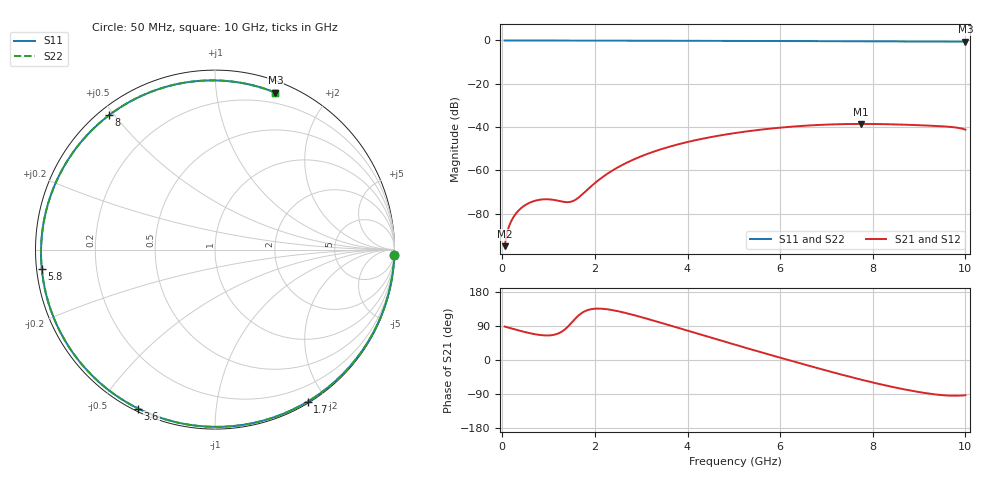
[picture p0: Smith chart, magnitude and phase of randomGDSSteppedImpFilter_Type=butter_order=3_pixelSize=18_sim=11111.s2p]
! freq	dB(S11)	phase(S11)	dB(S12)	phase(S12)
!  dB(S21)	phase(S21)	dB(S22)	phase(S22)
!S-par simulation data
#  GHz  S  DB  R 50
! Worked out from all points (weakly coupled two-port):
!   200 points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, 50 MHz to 10 GHz, reference 50 ohm
!   highest |S21| = -38.58 dB at 7.75 GHz (marker M1); lowest = -95.1 dB at 50 MHz (marker M2)
!   lowest |S11| = -0.6 dB at 10 GHz (marker M3), VSWR 30.82, Z = 5.05 + j72.6 ohm
!   |S11| at or under -10 dB: nowhere
!   |S22| runs from -0.6 to 0.0 dB; largest |S21 - S12| = 0
!   S11 on the Smith chart (normalised r, x): 50 MHz: 0, -64; 1.7 GHz: 0.02, -1.78; 3.6 GHz: 0.01, -0.63; 5.8 GHz: 0.01, -0.06; 8 GHz: 0.03, +0.48; 10 GHz: 0.10, +1.45
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0.05  -0.00 -1.8  -95.09 88.2  -95.09 88.2  -0.00 -1.8
0.3  -0.02 -10.7  -79.86 79.7  -79.86 79.7  -0.02 -10.7
0.5  -0.02 -17.7  -76.05 73.4  -76.05 73.4  -0.02 -17.7
0.75  -0.03 -26.5  -73.87 67.1  -73.87 67.1  -0.03 -26.5
1  -0.04 -35.1  -73.43 64.8  -73.43 64.8  -0.04 -35.1
1.45  -0.06 -50.4  -74.69 92.3  -74.69 92.3  -0.06 -50.4
1.7  -0.07 -58.6  -71.66 122.7  -71.66 122.7  -0.07 -58.6
1.75  -0.07 -60.2  -70.70 126.6  -70.70 126.6  -0.07 -60.2
2.1  -0.09 -71.5  -64.21 135.6  -64.21 135.6  -0.09 -71.5
2.45  -0.10 -82.3  -59.21 130.0  -59.21 130.0  -0.10 -82.3
2.9  -0.12 -95.8  -54.43 116.6  -54.43 116.6  -0.12 -95.8
3.4  -0.13 -110.2  -50.47 99.2  -50.47 99.2  -0.13 -110.2
3.6  -0.14 -115.8  -49.17 92.0  -49.17 92.0  -0.14 -115.8
4.35  -0.17 -136.1  -45.30 64.6  -45.30 64.6  -0.17 -136.1
5.05  -0.21 -154.3  -42.72 39.4  -42.72 39.4  -0.21 -154.3
5.8  -0.25 -173.6  -40.72 13.1  -40.72 13.1  -0.25 -173.6
6.7  -0.32 163.3  -39.20 -17.9  -39.20 -17.9  -0.32 163.3
7.75  -0.40 135.2  -38.58 -51.9  -38.58 -51.9  -0.40 135.2
8  -0.41 128.3  -38.61 -59.3  -38.61 -59.3  -0.41 128.2
8.35  -0.44 118.4  -38.73 -69.1  -38.73 -69.1  -0.44 118.4
9.2  -0.50 93.4  -39.36 -88.4  -39.36 -88.4  -0.51 93.4
10  -0.56 68.9  -41.21 -93.0  -41.21 -93.0  -0.56 68.9
